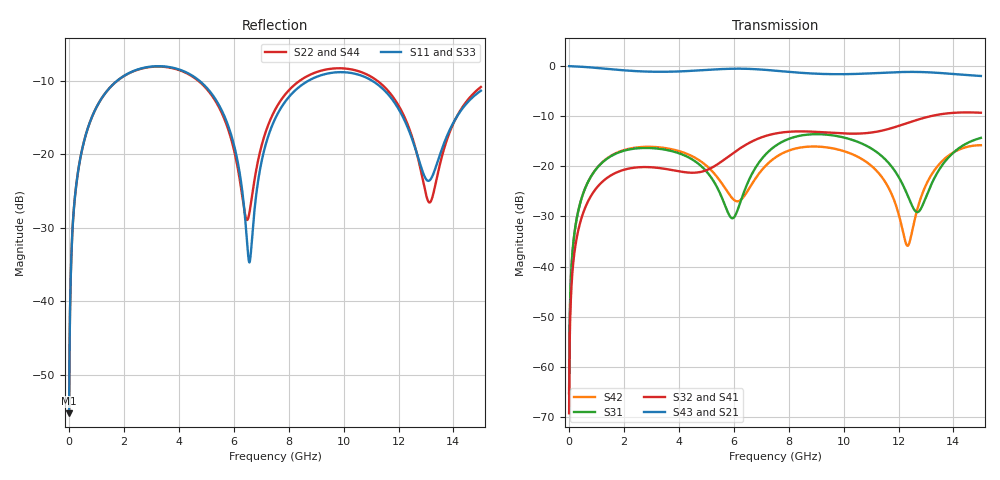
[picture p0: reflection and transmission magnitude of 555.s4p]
! Created with skrf 1.8.0 (http://scikit-rf.org).
# GHz S RI R 50.0
!freq ReS11 ImS11 ReS12 ImS12 ReS13 ImS13
! ReS14 ImS14
! ReS21 ImS21 ReS22 ImS22 ReS23 ImS23
! ReS24 ImS24
! ReS31 ImS31 ReS32 ImS32 ReS33 ImS33
! ReS34 ImS34
! ReS41 ImS41 ReS42 ImS42 ReS43 ImS43
! ReS44 ImS44
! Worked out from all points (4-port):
!   2499 points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, 5 MHz to 15 GHz, reference 50 ohm
!   strongest paths, dB at 5 MHz, 3.476 GHz, 7.19 GHz, 11.1 GHz, 15 GHz:
!     S43: 0.0, -1.1, -0.8, -1.4, -2.0
!     S21: 0.0, -1.1, -0.8, -1.4, -2.0
!     S32: -69.3, -20.5, -13.9, -13.2, -9.3
!     S41: -69.3, -20.6, -13.9, -13.3, -9.4
!     S31: -65.3, -16.7, -17.4, -16.7, -14.3
!     S42: -65.3, -16.3, -19.7, -20.3, -15.8
!   lowest |S11| = -55.2 dB at 5 MHz (marker M1), VSWR 1.00, Z = 50.1 + j0.105 ohm
!   |S11| at or under -10 dB: start of sweep to 1.763 GHz; 4.74 GHz to 8.732 GHz (3.992 GHz wide, 59.3 % of centre); 11.03 GHz to end of sweep
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0.005  0.00138 0.00105  0.9986 -0.00268  6.81e-05 0.000537  -6.63e-05 -0.000337
       0.9986 -0.00268  0.00138 0.00105  -6.63e-05 -0.000337  6.82e-05 0.000537
       6.81e-05 0.000537  -6.63e-05 -0.000337  0.00138 0.00105  0.9986 -0.00268
       -6.63e-05 -0.000337  6.82e-05 0.000537  0.9986 -0.00268  0.00138 0.00105
0.3626511  0.0224 0.08  0.9692 -0.1935  0.0101 0.0371  -0.00853 -0.0231
           0.9692 -0.1935  0.0224 0.08  -0.00855 -0.0231  0.0104 0.037
           0.0101 0.0371  -0.00855 -0.0231  0.0224 0.08  0.9692 -0.1935
           -0.00853 -0.0231  0.0104 0.037  0.9692 -0.1935  0.0224 0.08
1.619545  0.2314 0.1904  0.6308 -0.6779  0.1085 0.0725  -0.0816 -0.0191
          0.6308 -0.6779  0.2299 0.1911  -0.0818 -0.0189  0.1133 0.0671
          0.1085 0.0725  -0.0818 -0.0189  0.2313 0.1904  0.6308 -0.6779
          -0.0816 -0.0191  0.1133 0.0671  0.6308 -0.6779  0.2301 0.191
6.546478  0.0181 -0.0056  -0.9372 -0.048  0.0485 0.0536  -0.00662 0.1703
          -0.9372 -0.048  0.0364 0.0105  -0.00147 0.1705  -0.0364 0.0468
          0.0485 0.0536  -0.00147 0.1705  0.0189 -0.00477  -0.9372 -0.0475
          -0.00662 0.1703  -0.0364 0.0468  -0.9372 -0.0475  0.0351 0.0117
10.57941  0.3357 -0.0793  0.1746 0.8203  0.0978 -0.1425  0.1896 -0.0885
          0.1746 0.8203  0.346 -0.1142  0.1872 -0.1003  0.104 -0.0639
          0.0978 -0.1425  0.1872 -0.1003  0.337 -0.0752  0.1741 0.8196
          0.1896 -0.0885  0.104 -0.0639  0.1741 0.8196  0.3488 -0.1177
12.33014  0.1088 -0.1068  0.7559 0.4419  -0.0388 -0.0339  0.1379 -0.2331
          0.7559 0.4419  0.0934 -0.1294  0.1225 -0.2418  -0.0157 -0.00355
          -0.0388 -0.0339  0.1225 -0.2418  0.1149 -0.1054  0.755 0.4426
          0.1379 -0.2331  -0.0157 -0.00355  0.755 0.4426  0.0902 -0.1333
15  0.2372 0.1285  0.5774 -0.5502  0.1922 -0.00618  -0.2645 -0.2136
    0.5774 -0.5502  0.248 0.1426  -0.2804 -0.197  0.158 0.0386
    0.1922 -0.00618  -0.2804 -0.197  0.2355 0.1271  0.5775 -0.5494
    -0.2645 -0.2136  0.158 0.0386  0.5775 -0.5494  0.2506 0.1471
